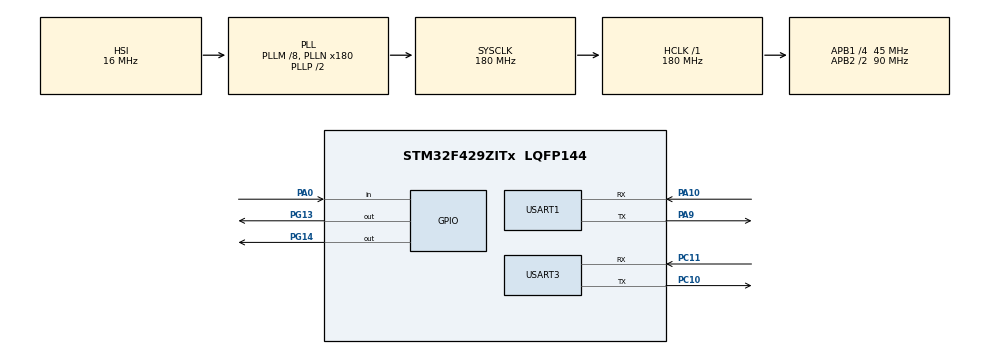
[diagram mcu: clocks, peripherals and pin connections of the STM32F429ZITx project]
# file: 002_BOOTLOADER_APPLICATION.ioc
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Mcu.Family=STM32F4
Mcu.Name=STM32F429ZITx
Mcu.Package=LQFP144
NVIC.PriorityGroup=NVIC_PRIORITYGROUP_0
PA0/WKUP.GPIO_PuPd=GPIO_PULLDOWN
PA0/WKUP.Signal=GPIO_Input
PA10.Mode=Asynchronous
PA10.Signal=USART1_RX
PA9.Mode=Asynchronous
PA9.Signal=USART1_TX
PC10.Mode=Asynchronous
PC10.Signal=USART3_TX
PC11.Mode=Asynchronous
PC11.Signal=USART3_RX
PG13.Signal=GPIO_Output
PG14.Signal=GPIO_Output
ProjectManager.HeapSize=0x200
ProjectManager.StackSize=0x400
ProjectManager.TargetToolchain=TrueSTUDIO
RCC.48MHZClocksFreq_Value=51428571.428571425
RCC.AHBFreq_Value=180000000
RCC.APB1CLKDivider=RCC_HCLK_DIV4
RCC.APB1Freq_Value=45000000
RCC.APB1TimFreq_Value=90000000
RCC.APB2CLKDivider=RCC_HCLK_DIV2
RCC.APB2Freq_Value=90000000
RCC.APB2TimFreq_Value=180000000
RCC.CortexFreq_Value=180000000
RCC.HCLKFreq_Value=180000000
RCC.HSE_VALUE=8000000
RCC.HSI_VALUE=16000000
RCC.LSE_VALUE=32768
RCC.PLLM=8
RCC.PLLN=180
RCC.PLLQ=7
RCC.SYSCLKFreq_VALUE=180000000
RCC.SYSCLKSource=RCC_SYSCLKSOURCE_PLLCLK
RCC.VCOOutputFreq_Value=360000000
USART1.VirtualMode=VM_ASYNC
USART3.VirtualMode=VM_ASYNC
VP_CRC_VS_CRC.Mode=CRC_Activate
board=STM32F429I-DISC1

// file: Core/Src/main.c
/* USER CODE BEGIN Header */
/**
  ******************************************************************************
  * @file           : main.c
  * @brief          : Main program body
  ******************************************************************************
  * @attention
  *
  * Copyright (c) 2023 STMicroelectronics.
  * All rights reserved.
  *
  * This software is licensed under terms that can be found in the LICENSE file
  * in the root directory of this software component.
  * If no LICENSE file comes with this software, it is provided AS-IS.
  *
  ******************************************************************************
  */
/* USER CODE END Header */
#include "main.h"

/* USER CODE BEGIN Includes */
#include "string.h"
#include "stdio.h"
#include "stdarg.h"
#include "bootloader_command_code.h"
#include "bootloader_command_app.h"
/* USER CODE END Includes */

/* USER CODE BEGIN PD */
#define DEBUG_UART &huart3
#define FLASH_SECTOR2_BASE_ADDRESS 0x08008000
#define BL_RX_DATA_LENGTH 266
/* USER CODE END PD */

 CRC_HandleTypeDef hcrc;

UART_HandleTypeDef huart1;
UART_HandleTypeDef huart3;

/* USER CODE BEGIN PV */
uint8_t bootloader_rx_data[BL_RX_DATA_LENGTH];

/* USER CODE END PV */

void SystemClock_Config(void);
static void MX_GPIO_Init(void);
static void MX_CRC_Init(void);
static void MX_USART1_UART_Init(void);
static void MX_USART3_UART_Init(void);
/* USER CODE BEGIN PFP */
void printMsg(char *msg,...);
void Bootloader_UART_Read_Data(void);
void Bootloader_Jump_TO_User_Application(void);
/* USER CODE END PFP */

int main(void)
{

  /* MCU Configuration--------------------------------------------------------*/

  /* Reset of all peripherals, Initializes the Flash interface and the Systick. */
  HAL_Init();

  /* Configure the system clock */
  SystemClock_Config();

  /* Initialize all configured peripherals */
  MX_GPIO_Init();
  MX_CRC_Init();
  MX_USART1_UART_Init();
  MX_USART3_UART_Init();
  /* USER CODE BEGIN 2 */
if(HAL_GPIO_ReadPin(GPIOA,GPIO_PIN_0) == GPIO_PIN_SET)  // When Reset Button Pressed
{
     printMsg("BL Debug Mode:Button is Pressed and Going to BL Mode\r\n");

     Bootloader_UART_Read_Data();
}
else
{
	 printMsg("BL Debug Mode:Button is not Pressed.Executing user application\r\n");
	 Bootloader_Jump_TO_User_Application();
}
  /* USER CODE END 2 */

  /* Infinite loop */
  while (1)
  {

  }
}

void SystemClock_Config(void)
{
  RCC_OscInitTypeDef RCC_OscInitStruct = {0};
  RCC_ClkInitTypeDef RCC_ClkInitStruct = {0};

  /** Configure the main internal regulator output voltage
  */
  __HAL_RCC_PWR_CLK_ENABLE();
  __HAL_PWR_VOLTAGESCALING_CONFIG(PWR_REGULATOR_VOLTAGE_SCALE1);

  /** Initializes the RCC Oscillators according to the specified parameters
  * in the RCC_OscInitTypeDef structure.
  */
  RCC_OscInitStruct.OscillatorType = RCC_OSCILLATORTYPE_HSI;
  RCC_OscInitStruct.HSIState = RCC_HSI_ON;
  RCC_OscInitStruct.HSICalibrationValue = RCC_HSICALIBRATION_DEFAULT;
  RCC_OscInitStruct.PLL.PLLState = RCC_PLL_ON;
  RCC_OscInitStruct.PLL.PLLSource = RCC_PLLSOURCE_HSI;
  RCC_OscInitStruct.PLL.PLLM = 8;
  RCC_OscInitStruct.PLL.PLLN = 180;
  RCC_OscInitStruct.PLL.PLLP = RCC_PLLP_DIV2;
  RCC_OscInitStruct.PLL.PLLQ = 7;
  if (HAL_RCC_OscConfig(&RCC_OscInitStruct) != HAL_OK)
  {
    Error_Handler();
  }

  /** Activate the Over-Drive mode
  */
  if (HAL_PWREx_EnableOverDrive() != HAL_OK)
  {
    Error_Handler();
  }

  /** Initializes the CPU, AHB and APB buses clocks
  */
  RCC_ClkInitStruct.ClockType = RCC_CLOCKTYPE_HCLK|RCC_CLOCKTYPE_SYSCLK
                              |RCC_CLOCKTYPE_PCLK1|RCC_CLOCKTYPE_PCLK2;
  RCC_ClkInitStruct.SYSCLKSource = RCC_SYSCLKSOURCE_PLLCLK;
  RCC_ClkInitStruct.AHBCLKDivider = RCC_SYSCLK_DIV1;
  RCC_ClkInitStruct.APB1CLKDivider = RCC_HCLK_DIV4;
  RCC_ClkInitStruct.APB2CLKDivider = RCC_HCLK_DIV2;

  if (HAL_RCC_ClockConfig(&RCC_ClkInitStruct, FLASH_LATENCY_5) != HAL_OK)
  {
    Error_Handler();
  }
}

static void MX_CRC_Init(void)
{

  hcrc.Instance = CRC;
  if (HAL_CRC_Init(&hcrc) != HAL_OK)
  {
    Error_Handler();
  }

}

static void MX_USART1_UART_Init(void)
{

  huart1.Instance = USART1;
  huart1.Init.BaudRate = 115200;
  huart1.Init.WordLength = UART_WORDLENGTH_8B;
  huart1.Init.StopBits = UART_STOPBITS_1;
  huart1.Init.Parity = UART_PARITY_NONE;
  huart1.Init.Mode = UART_MODE_TX_RX;
  huart1.Init.HwFlowCtl = UART_HWCONTROL_NONE;
  huart1.Init.OverSampling = UART_OVERSAMPLING_16;
  if (HAL_UART_Init(&huart1) != HAL_OK)
  {
    Error_Handler();
  }

}

static void MX_USART3_UART_Init(void)
{

  huart3.Instance = USART3;
  huart3.Init.BaudRate = 115200;
  huart3.Init.WordLength = UART_WORDLENGTH_8B;
  huart3.Init.StopBits = UART_STOPBITS_1;
  huart3.Init.Parity = UART_PARITY_NONE;
  huart3.Init.Mode = UART_MODE_TX_RX;
  huart3.Init.HwFlowCtl = UART_HWCONTROL_NONE;
  huart3.Init.OverSampling = UART_OVERSAMPLING_16;
  if (HAL_UART_Init(&huart3) != HAL_OK)
  {
    Error_Handler();
  }

}

static void MX_GPIO_Init(void)
{
  GPIO_InitTypeDef GPIO_InitStruct = {0};

  /* GPIO Ports Clock Enable */
  __HAL_RCC_GPIOA_CLK_ENABLE();
  __HAL_RCC_GPIOC_CLK_ENABLE();
  __HAL_RCC_GPIOG_CLK_ENABLE();

  /*Configure GPIO pin Output Level */
  HAL_GPIO_WritePin(GPIOG, GPIO_PIN_13|GPIO_PIN_14, GPIO_PIN_RESET);

  /*Configure GPIO pin : PA0 */
  GPIO_InitStruct.Pin = GPIO_PIN_0;
  GPIO_InitStruct.Mode = GPIO_MODE_INPUT;
  GPIO_InitStruct.Pull = GPIO_PULLDOWN;
  HAL_GPIO_Init(GPIOA, &GPIO_InitStruct);

  /*Configure GPIO pins : PG13 PG14 */
  GPIO_InitStruct.Pin = GPIO_PIN_13|GPIO_PIN_14;
  GPIO_InitStruct.Mode = GPIO_MODE_OUTPUT_PP;
  GPIO_InitStruct.Pull = GPIO_NOPULL;
  GPIO_InitStruct.Speed = GPIO_SPEED_FREQ_LOW;
  HAL_GPIO_Init(GPIOG, &GPIO_InitStruct);

}

/* USER CODE BEGIN 4 */
void printMsg(char *msg,...)
{
   char comingMsg[100];

  va_list vaList;
  va_start(vaList,msg);
  vsprintf(comingMsg,msg,vaList);
  HAL_UART_Transmit(DEBUG_UART,(uint8_t *)comingMsg,strlen(comingMsg),HAL_MAX_DELAY);
  va_end(vaList);
}
void Bootloader_UART_Read_Data(void)
{
  //Take the command length
  uint8_t bl_rx_length = 0;

  while(1)
  {
    memset(bootloader_rx_data,0,BL_RX_DATA_LENGTH); //Reset Bootloader RX DATA

    HAL_UART_Receive(DEBUG_UART,bootloader_rx_data,1,HAL_MAX_DELAY); //Receive Data Length

    bl_rx_length = bootloader_rx_data[0];

    HAL_UART_Receive(DEBUG_UART,&bootloader_rx_data[1],bl_rx_length,HAL_MAX_DELAY); //Receive Command Array
    switch(bootloader_rx_data[1])
    {
    	case BL_GET_VER:
    	{
            bootloader_get_ver_cmd(bootloader_rx_data);
    		break;
    	}
    	case BL_GET_HELP:
    	{
            bootloader_get_help_cmd(bootloader_rx_data);
    		break;
    	}
    	case BL_GET_CID:
    	{
    		bootloader_get_cid_cmd(bootloader_rx_data);
    		break;
    	}
    	case BL_GET_RDP_STATUS:
    	{
    		bootloader_get_rdp_cmd(bootloader_rx_data);
    		break;
    	}
    	case BL_GO_TO_ADDR:
    	{
            bootloader_go_to_addr_cmd(bootloader_rx_data);
    		break;
    	}
    	case BL_FLASH_ERASE:
    	{
            bootloader_flash_erase_cmd(bootloader_rx_data);
    		break;
    	}
    	case BL_MEM_WRITE:
    	{
    		bootloader_mem_write_cmd(bootloader_rx_data);
    		break;
    	}
    	case BL_EN_RW_PROTECT:
    	{
            bootloader_en_rw_protect_cmd(bootloader_rx_data);
    		break;
    	}
    	case BL_READ_SECTOR_P_STATUS:
    	{
            bl_read_sector_p_status_cmd(bootloader_rx_data);
    		break;
    	}
    	case BL_DIS_R_W_PROTECT:
    	{
    		bootloader_dis_rw_protect_cmd(bootloader_rx_data);
    		break;
    	}

    	default:
    		break;

    }

  }

}
void Bootloader_Jump_TO_User_Application(void)
{
   // 1-Create a function pointer to the reset handler
   void (*bootloader_app_reset_handler) (void);
   // 2-Send a message for jumping to user application
   printMsg("BL DEBUG MSG:Bootloader_Jump_To_User_App Called\r\n");
   // 3-Save the msp_value
   uint32_t msp_value = *(volatile uint32_t*) FLASH_SECTOR2_BASE_ADDRESS;
   printMsg("BL DEBUF MSG: MSP Value = %#x\r\n",msp_value);
   __set_MSP(msp_value);
   // 4-Save the reset handler value
   uint32_t reset_value = *(volatile uint32_t*) (FLASH_SECTOR2_BASE_ADDRESS + 4);
   printMsg("BL DEBUF MSG: Reset Value = %#x\r\n",reset_value);
   //5-Start a application from reset handler
   bootloader_app_reset_handler = (void*)reset_value;
   //6-Call the reset handler pointer and jump to user app
   bootloader_app_reset_handler();

}
/* USER CODE END 4 */

void Error_Handler(void)
{
  __disable_irq();
  while (1)
  {
  }
}
